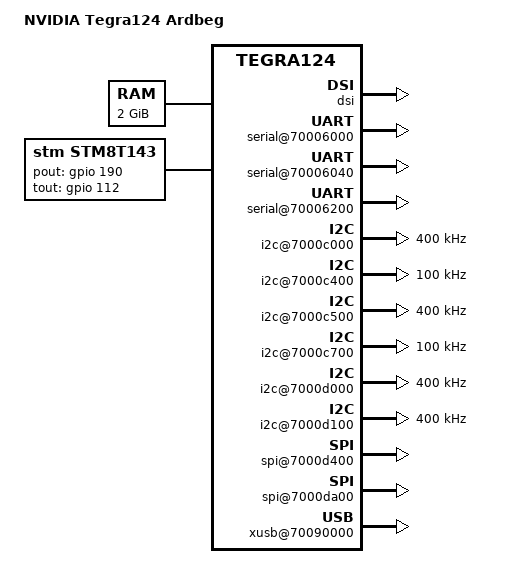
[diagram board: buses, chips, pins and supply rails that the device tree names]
/dts-v1/;

#include "tegra124.dtsi"
#include "tegra124-platforms/tegra124-tn8-powermon-e1780-1100-a02.dtsi"
#include "tegra124-platforms/tegra124-tn8-gpio-e1780-1100-a02.dtsi"
#include "tegra124-platforms/tegra124-tn8-pinmux-e1780-1100-a02.dtsi"
#include "tegra124-platforms/tegra124-tn8-keys-e1780-1100-a02.dtsi"
#include "panel-p-wuxga-10-1.dts"

/ {
	model = "NVIDIA Tegra124 Ardbeg";
	compatible = "nvidia,ardbeg", "nvidia,tegra124";
	nvidia,dtsfilename = __FILE__;
	#address-cells = <1>;
	#size-cells = <1>;

	chosen {
		bootargs = "tegraid=40.0.0.00.00 vmalloc=256M video=tegrafb console=ttyS0,115200n8 earlyprintk";
		linux,initrd-start = <0x85000000>;
		linux,initrd-end = <0x851bc400>;
	};
	host1x {
		dsi {
			nvidia,dsi-controller-vs = <1>;
			status = "okay";
			panel-p-wuxga-10-1 {
				nvidia,dsi-panel-rst-gpio = <&gpio TEGRA_GPIO(H, 3) 0>; /* PH3 */
				nvidia,dsi-panel-bl-pwm-gpio = <&gpio TEGRA_GPIO(H, 1) 0>; /* PH1 */
			};
		};
	};
        serial@70006000 {
                compatible = "nvidia,tegra114-hsuart";
                status = "okay";
        };

        serial@70006040 {
                compatible = "nvidia,tegra114-hsuart";
                status = "okay";
        };

        serial@70006200 {
                compatible = "nvidia,tegra114-hsuart";
                status = "okay";
        };

	memory@0x80000000 {
		device_type = "memory";
		reg = <0x80000000 0x80000000>;
	};

	i2c@7000c000 {
		status = "okay";
		clock-frequency = <400000>;
	};

	i2c@7000c400 {
		status = "okay";
		clock-frequency = <100000>;

		bq20z75@0b {
			compatible = "sbs,sbs-battery";
			reg = <0x0b>;
			status = "disabled";
			sbs,i2c-retry-count = <2>;
			sbs,poll-retry-count = <100>;
		};
	};

	i2c@7000c500 {
		status = "okay";
		clock-frequency = <400000>;
	};

	i2c@7000c700 {
		status = "okay";
		clock-frequency = <100000>;
	};

	i2c@7000d000 {
		status = "okay";
		clock-frequency = <400000>;
		nvidia,bit-banging-xfer-after-shutdown;
	};

	i2c@7000d100 {
		status = "okay";
		clock-frequency = <400000>;
	};

	spi@7000d400 {
		status = "okay";
		spi-max-frequency = <25000000>;
	};

	spi@7000da00 {
		status = "okay";
		spi-max-frequency = <25000000>;
	};

	pmc {
		status = "okay";
		nvidia,invert-interrupt;
		nvidia,suspend-mode = <0>;
		nvidia,cpu-pwr-good-time = <500>;
		nvidia,cpu-pwr-off-time = <300>;
		nvidia,core-pwr-good-time = <3845 3845>;
		nvidia,core-pwr-off-time = <2000>;
		nvidia,core-power-req-active-high;
		nvidia,sys-clock-req-active-high;
	};

	stm8t143 {
		compatible = "stm,stm8t143";
		pout-gpio = <&gpio 190 0>;
		tout-gpio = <&gpio 112 0>;
	};

	xusb@70090000 {
		/* nvidia,uses_external_pmic;
		nvidia,gpio_controls_muxed_ss_lanes; */
		nvidia,gpio_ss1_sata = <0>;
		nvidia,portmap = <0x703>; /* SSP0, SSP1 USB2P0, USB2P1, USBP2 */
		nvidia,ss_portmap = <0x20>; /* SSP0 on USB2P0, SSP1 on USB2P2 */
		nvidia,lane_owner = <6>; /* USB3P0 USB3P1 */
		nvidia,ulpicap = <0>; /* No ulpi support. can we remove */
		nvidia,supply_utmi_vbuses = "usb_vbus0", "usb_vbus1", "usb_vbus2";
		nvidia,supply_s3p3v = "hvdd_usb";
		nvidia,supply_s1p8v = "avdd_pll_utmip";
		nvidia,supply_vddio_hsic = "vddio_hsic";
		nvidia,supply_s1p05v = "avddio_usb";
		/* hsic config values in order defined in structure */
		nvidia,hsic0 = /bits/8 <0x1 0x1 0x8 0xa 0 0 1 0x22 0>;
		status = "okay";
	};
};
